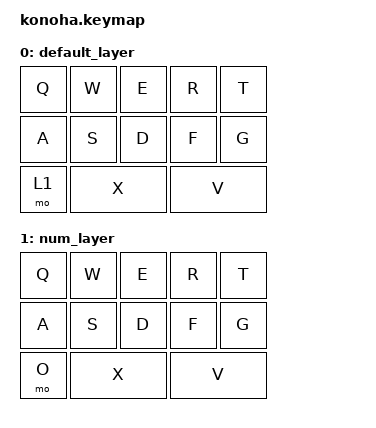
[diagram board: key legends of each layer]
#include <behaviors.dtsi>

/ {
    keymap {
        compatible = "zmk,keymap";

	default_layer {
            bindings = <
                &kp Q  &kp W  &kp E  &kp R  &kp T
                &kp A  &kp S  &kp D  &kp F  &kp G
                &mo 1  &kp X         &kp V
	    >;
	};

	num_layer {
            bindings = <
                &kp Q  &kp W  &kp E  &kp R  &kp T
                &kp A  &kp S  &kp D  &kp F  &kp G
                &mo O  &kp X         &kp V
	    >;
	};
    };
};
